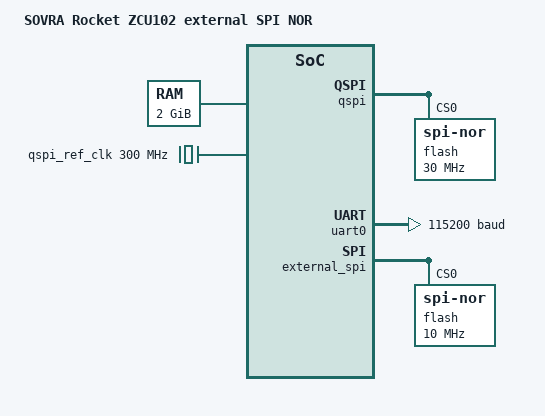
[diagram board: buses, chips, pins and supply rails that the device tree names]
// SPDX-License-Identifier: GPL-2.0+
/*
 * Rocket external-SPI-NOR profile for rocket_externel_flash.bit.
 *
 * This is derived from rocker_external_flash/rocket_externel_flash.dts:
 * two Rocket harts, 2 GiB at 0x80000000, UART 0x10020000 and the SiFive
 * SPI controller at 0x10030000. PS QSPI is retained as the boot/artifact
 * source; the SiFive SPI NOR is used only for redundant environments.
 */
/dts-v1/;

#include "binman.dtsi"

/ {
	#address-cells = <2>;
	#size-cells = <2>;
	compatible = "sifive,rocket0", "ucb-bar,chipyard-dev";
	model = "SOVRA Rocket ZCU102 external SPI NOR";

	aliases {
		serial0 = &uart0;
		spi0 = &qspi;
		spi1 = &external_spi;
	};

	chosen {
		stdout-path = &uart0;
		bootargs = "root=/dev/ram rw console=ttySIF0,115200 earlycon=sbi";
	};

	cpus {
		#address-cells = <1>;
		#size-cells = <0>;
		timebase-frequency = <500000>;

		cpu0: cpu@0 {
			compatible = "sifive,rocket0", "riscv";
			device_type = "cpu";
			reg = <0>;
			mmu-type = "riscv,sv39";
			riscv,isa = "rv64imafdcbzicsr_zifencei_zihpm_zfh_zba_zbb_zbs_xrocket";
			status = "okay";
			cpu0_intc: interrupt-controller {
				#interrupt-cells = <1>;
				compatible = "riscv,cpu-intc";
				interrupt-controller;
			};
		};

		cpu1: cpu@1 {
			compatible = "sifive,rocket0", "riscv";
			device_type = "cpu";
			reg = <1>;
			mmu-type = "riscv,sv39";
			riscv,isa = "rv64imafdcbzicsr_zifencei_zihpm_zfh_zba_zbb_zbs_xrocket";
			status = "okay";
			cpu1_intc: interrupt-controller {
				#interrupt-cells = <1>;
				compatible = "riscv,cpu-intc";
				interrupt-controller;
			};
		};
	};

	memory@80000000 {
		device_type = "memory";
		reg = <0x0 0x80000000 0x0 0x80000000>;
	};

	/* Existing boot-artifact store: retain the old PS-QSPI contract. */
	qspi_ref_clk: qspi-ref-clock {
		#clock-cells = <0>;
		clock-frequency = <300000000>;
		clock-output-names = "qspi_ref_clk";
		compatible = "fixed-clock";
	};

	qspi: spi@ff0f0000 {
		compatible = "xlnx,zynqmp-qspi-1.0";
		status = "okay";
		clocks = <&qspi_ref_clk>;
		clock-names = "ref_clk";
		num-cs = <1>;
		has-io-mode;
		reg = <0x0 0xff0f0000 0x0 0x1000>,
		      <0x0 0xc0000000 0x0 0x8000000>;
		#address-cells = <1>;
		#size-cells = <0>;

		flash@0 {
			compatible = "jedec,spi-nor";
			reg = <0>;
			spi-max-frequency = <30000000>;
			spi-rx-bus-width = <4>;
			spi-tx-bus-width = <4>;
		};
	};

	soc {
		#address-cells = <1>;
		#size-cells = <1>;
		compatible = "ucb-bar,chipyard-soc", "simple-bus";
		ranges = <0x0 0x0 0x0 0x20000000>;

		pbus_clock: pbus-clock {
			#clock-cells = <0>;
			clock-frequency = <50000000>;
			clock-output-names = "pbus_clock";
			compatible = "fixed-clock";
		};

		clint@2000000 {
			compatible = "riscv,clint0";
			interrupts-extended = <&cpu0_intc 3 &cpu0_intc 7
					       &cpu1_intc 3 &cpu1_intc 7>;
			reg = <0x02000000 0x00010000>;
		};

		plic: interrupt-controller@c000000 {
			#interrupt-cells = <1>;
			compatible = "riscv,plic0";
			interrupt-controller;
			interrupts-extended = <&cpu0_intc 11 &cpu0_intc 9
					       &cpu1_intc 11 &cpu1_intc 9>;
			reg = <0x0c000000 0x04000000>;
			riscv,max-priority = <3>;
			riscv,ndev = <2>;
		};

		uart0: serial@10020000 {
			compatible = "sifive,uart0";
			clocks = <&pbus_clock>;
			clock-frequency = <50000000>;
			current-speed = <115200>;
			interrupt-parent = <&plic>;
			interrupts = <1>;
			reg = <0x10020000 0x1000>;
		};

		external_spi: spi@10030000 {
			compatible = "sifive,spi0";
			clocks = <&pbus_clock>;
			interrupt-parent = <&plic>;
			interrupts = <2>;
			reg = <0x10030000 0x1000>;
			#address-cells = <1>;
			#size-cells = <0>;

			flash@0 {
				compatible = "jedec,spi-nor";
				reg = <0>;
				/* The supplied RTL DTS rates this peripheral at 10 MHz. */
				spi-max-frequency = <10000000>;
				/* CONFIG_ENV_SPI_BUS=1: only env A/B below 8 MiB. */
			};
		};
	};
};
